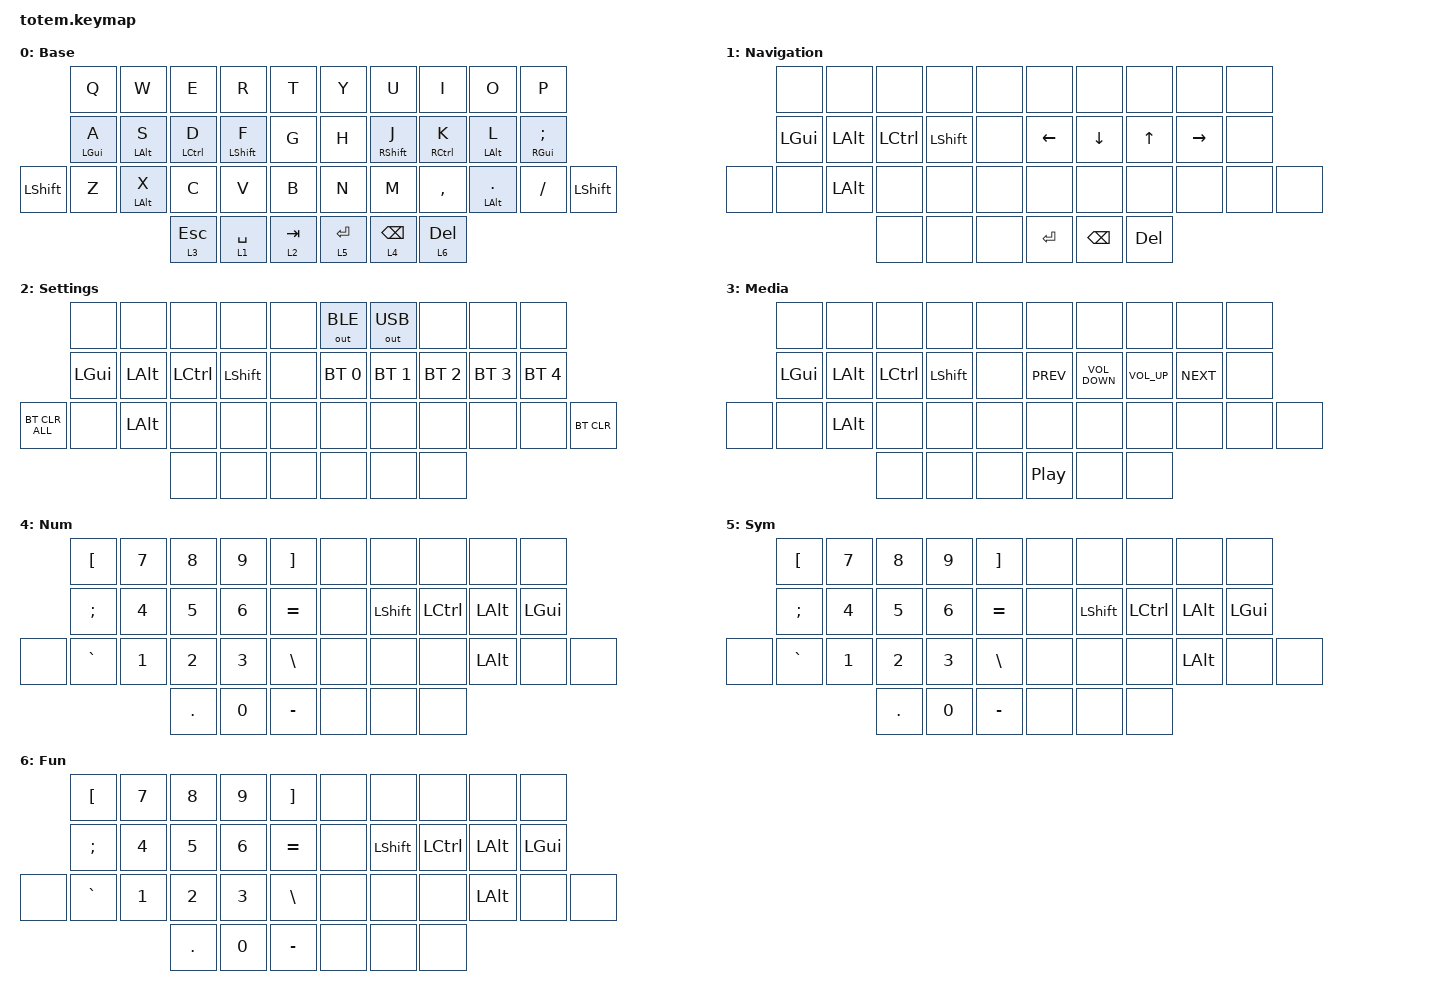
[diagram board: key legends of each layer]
#include <dt-bindings/zmk/mouse.h>
#include <behaviors.dtsi>
#include <dt-bindings/zmk/bt.h>
#include <dt-bindings/zmk/keys.h>
#include <dt-bindings/zmk/outputs.h>


    &mt {
    flavor = "tap-preferred";
    tapping_term_ms = <285>;
};
/ {
    keymap {
        compatible = "zmk,keymap";

        Base {
            bindings = <
           &kp Q         &kp W           &kp E        &kp R        &kp T        &kp Y      &kp U         &kp I        &kp O             &kp P
           &mt LGUI A  &mt LEFT_ALT S  &mt LCTRL D  &mt LSHIFT F   &kp G        &kp H      &mt RSHIFT J  &mt RCTRL K  &mt LEFT_ALT L    &mt RGUI SEMI
&kp LSHFT  &kp Z         &mt LEFT_ALT X  &kp C        &kp V        &kp B        &kp N      &kp M         &kp COMMA    &mt LEFT_ALT DOT  &kp FSLH       &kp LSHFT
                                         &lt 3 ESC    &lt 1 SPACE  &lt 2 TAB    &lt 5 RET  &lt 4 BSPC    &lt 6 DEL
            >;
        };

        Navigation {
            bindings = <
       &none     &none     &none      &none      &none    &none     &none     &none    &none      &none
       &kp LGUI  &kp LALT  &kp LCTRL  &kp LSHFT  &none    &kp LEFT  &kp DOWN  &kp UP   &kp RIGHT  &none
&none  &none     &kp LALT  &none      &none      &none    &none     &none     &none    &none      &none  &none
                           &none      &none      &none    &kp RET   &kp BSPC  &kp DEL
            >;
        };

        Settings {
            bindings = <
            &none     &none     &none      &none      &none    &out OUT_BLE  &out OUT_USB  &none  &none  &none
            &kp LGUI  &kp LALT  &kp LCTRL  &kp LSHFT  &none    &bt BT_SEL 0  &bt BT_SEL 1         &bt BT_SEL 2  &bt BT_SEL 3  &bt BT_SEL 4
&bt BT_CLR_ALL  &none     &kp LALT  &none      &none      &none    &none         &none         &none  &none  &none  &bt BT_CLR
                                &none      &none      &none    &none         &none         &none
            >;
        };

        Media {
            bindings = <
       &none     &none     &none      &none      &none    &none       &none              &none         &none       &none
       &kp LGUI  &kp LALT  &kp LCTRL  &kp LSHFT  &none    &kp C_PREV  &kp C_VOLUME_DOWN  &kp C_VOL_UP  &kp C_NEXT  &none
&none  &none     &kp LALT  &none      &none      &none    &none       &none              &none         &none       &none  &none
                           &none      &none      &none    &kp C_PP    &none              &none
            >;
        };

        Num {
            bindings = <
       &kp LBKT   &kp N7  &kp N8   &kp N9  &kp RBKT     &none  &none      &none      &none     &none
       &kp SEMI   &kp N4  &kp N5   &kp N6  &kp EQUAL    &none  &kp LSHFT  &kp LCTRL  &kp LALT  &kp LGUI
&none  &kp GRAVE  &kp N1  &kp N2   &kp N3  &kp BSLH     &none  &none      &none      &kp LALT  &none     &none
                          &kp DOT  &kp N0  &kp MINUS    &none  &none      &none
            >;
        };

        Sym {
            bindings = <
       &kp LBKT   &kp N7  &kp N8   &kp N9  &kp RBKT     &none  &none      &none      &none     &none
       &kp SEMI   &kp N4  &kp N5   &kp N6  &kp EQUAL    &none  &kp LSHFT  &kp LCTRL  &kp LALT  &kp LGUI
&none  &kp GRAVE  &kp N1  &kp N2   &kp N3  &kp BSLH     &none  &none      &none      &kp LALT  &none     &none
                          &kp DOT  &kp N0  &kp MINUS    &none  &none      &none
            >;
        };

        Fun {
            bindings = <
       &kp LBKT   &kp N7  &kp N8   &kp N9  &kp RBKT     &none  &none      &none      &none     &none
       &kp SEMI   &kp N4  &kp N5   &kp N6  &kp EQUAL    &none  &kp LSHFT  &kp LCTRL  &kp LALT  &kp LGUI
&none  &kp GRAVE  &kp N1  &kp N2   &kp N3  &kp BSLH     &none  &none      &none      &kp LALT  &none     &none
                          &kp DOT  &kp N0  &kp MINUS    &none  &none      &none
            >;
        };
    };
};
